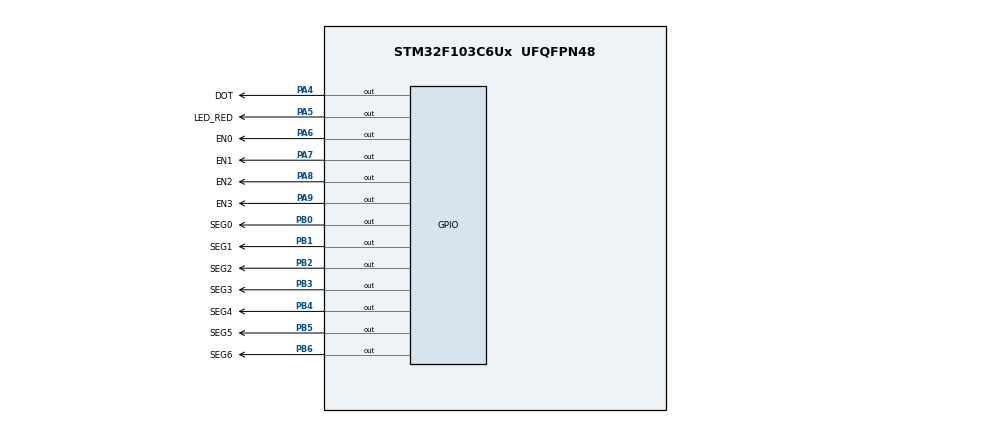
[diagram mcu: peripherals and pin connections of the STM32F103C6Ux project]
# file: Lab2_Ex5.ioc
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Mcu.Family=STM32F1
Mcu.Name=STM32F103C6Ux
Mcu.Package=UFQFPN48
NVIC.PriorityGroup=NVIC_PRIORITYGROUP_4
NVIC.TIM2_IRQn=true\:0\:0\:false\:false\:true\:false\:true
PA13.Mode=Serial_Wire
PA13.Signal=SYS_JTMS-SWDIO
PA14.Mode=Serial_Wire
PA14.Signal=SYS_JTCK-SWCLK
PA4.GPIO_Label=DOT
PA4.PinState=GPIO_PIN_SET
PA4.Signal=GPIO_Output
PA5.GPIO_Label=LED_RED
PA5.PinState=GPIO_PIN_SET
PA5.Signal=GPIO_Output
PA6.GPIO_Label=EN0
PA6.PinState=GPIO_PIN_SET
PA6.Signal=GPIO_Output
PA7.GPIO_Label=EN1
PA7.PinState=GPIO_PIN_SET
PA7.Signal=GPIO_Output
PA8.GPIO_Label=EN2
PA8.PinState=GPIO_PIN_SET
PA8.Signal=GPIO_Output
PA9.GPIO_Label=EN3
PA9.PinState=GPIO_PIN_SET
PA9.Signal=GPIO_Output
PB0.GPIO_Label=SEG0
PB0.PinState=GPIO_PIN_SET
PB0.Signal=GPIO_Output
PB1.GPIO_Label=SEG1
PB1.PinState=GPIO_PIN_SET
PB1.Signal=GPIO_Output
PB2.GPIO_Label=SEG2
PB2.PinState=GPIO_PIN_SET
PB2.Signal=GPIO_Output
PB3.GPIO_Label=SEG3
PB3.PinState=GPIO_PIN_SET
PB3.Signal=GPIO_Output
PB4.GPIO_Label=SEG4
PB4.PinState=GPIO_PIN_SET
PB4.Signal=GPIO_Output
PB5.GPIO_Label=SEG5
PB5.PinState=GPIO_PIN_SET
PB5.Signal=GPIO_Output
PB6.GPIO_Label=SEG6
PB6.PinState=GPIO_PIN_SET
PB6.Signal=GPIO_Output
ProjectManager.HeapSize=0x200
ProjectManager.StackSize=0x400
ProjectManager.TargetToolchain=STM32CubeIDE
RCC.APB1Freq_Value=8000000
RCC.APB2Freq_Value=8000000
TIM2.Period=9
TIM2.Prescaler=7999
VP_TIM2_VS_ClockSourceINT.Mode=Internal
board=custom

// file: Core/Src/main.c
/* USER CODE BEGIN Header */
/**
  ******************************************************************************
  * @file           : main.c
  * @brief          : Main program body
  *                   Lab 2 - Exercise 5 - Dong ho so gio:phut (con dung HAL_Delay)
  ******************************************************************************
  * @attention
  *
  * <h2><center>&copy; Copyright (c) 2026 STMicroelectronics.
  * All rights reserved.</center></h2>
  *
  * This software component is licensed by ST under BSD 3-Clause license,
  * the "License"; You may not use this file except in compliance with the
  * License. You may obtain a copy of the License at:
  *                        opensource.org/licenses/BSD-3-Clause
  *
  ******************************************************************************
  */
/* USER CODE END Header */
#include "main.h"

/* USER CODE BEGIN PD */
/* LED 7 doan common anode -> doan sang khi xuat muc 0 */
#define SEG_ON            GPIO_PIN_RESET
#define SEG_OFF           GPIO_PIN_SET

/* PNP: xuat muc 0 -> transistor dan -> LED 7 doan duoc cap nguon */
#define EN_ON             GPIO_PIN_RESET
#define EN_OFF            GPIO_PIN_SET

#define MAX_LED           4
#define SWITCH_TIME_MS    (1000 / MAX_LED)         /* 250 ms -> 4 LED = 1 Hz */
#define TICKS_SWITCH      (SWITCH_TIME_MS / 10)
#define DOT_TIME_MS       1000
#define TICKS_DOT         (DOT_TIME_MS / 10)
/* USER CODE END PD */

TIM_HandleTypeDef htim2;

void SystemClock_Config(void);
static void MX_GPIO_Init(void);
static void MX_TIM2_Init(void);

/* USER CODE BEGIN 0 */
int index_led = 0;
int led_buffer[MAX_LED] = {0, 0, 0, 0};   /* se do updateClockBuffer() ghi */

int timer_counter = 0;
int dot_counter   = 0;
int dot_state     = 0;

/* --- Dong ho: gio / phut / giay --- */
int hour = 15, minute = 8, second = 50;

/* Bang ma 7 doan, bit0..bit6 = doan a..g (kieu gfedcba).
   LED common anode: doan SANG khi chan tin hieu o muc 0. */
const uint8_t SEG_CODE[10] = {
  0x3F, 0x06, 0x5B, 0x4F, 0x66, 0x6D, 0x7D, 0x07, 0x7F, 0x6F
};

void display7SEG(int num)
{
  if (num < 0 || num > 9) return;                 /* chong tran bang    */
  for (int i = 0; i < 7; i++) {                   /* SEG0..SEG6 = PB0..PB6 */
    HAL_GPIO_WritePin(SEG0_GPIO_Port, (uint16_t)(SEG0_Pin << i),
                      ((SEG_CODE[num] >> i) & 1) ? SEG_ON : SEG_OFF);
  }
}

void update7SEG(int index)
{
  /* B1: TAT het 4 LED truoc. Neu bo buoc nay, du lieu cua LED cu con
         nam tren bus SEG trong luc LED moi da sang -> bong mo (ghosting). */
  HAL_GPIO_WritePin(EN0_GPIO_Port, EN0_Pin | EN1_Pin | EN2_Pin | EN3_Pin, EN_OFF);

  /* B2: dat du lieu  ->  B3: bat DUNG 1 LED */
  switch (index) {
    case 0:  display7SEG(led_buffer[0]);
             HAL_GPIO_WritePin(EN0_GPIO_Port, EN0_Pin, EN_ON);  break;
    case 1:  display7SEG(led_buffer[1]);
             HAL_GPIO_WritePin(EN1_GPIO_Port, EN1_Pin, EN_ON);  break;
    case 2:  display7SEG(led_buffer[2]);
             HAL_GPIO_WritePin(EN2_GPIO_Port, EN2_Pin, EN_ON);  break;
    case 3:  display7SEG(led_buffer[3]);
             HAL_GPIO_WritePin(EN3_GPIO_Port, EN3_Pin, EN_ON);  break;
    default: break;
  }
}

/* Doi gio:phut thanh 4 chu so cho 4 LED 7 doan.
   So 1 chu so tu dong co so 0 o truoc, vi du 8 gio -> "08". */
void updateClockBuffer(void)
{
  led_buffer[0] = hour   / 10;
  led_buffer[1] = hour   % 10;
  led_buffer[2] = minute / 10;
  led_buffer[3] = minute % 10;
}
/* USER CODE END 0 */

int main(void)
{

  /* MCU Configuration--------------------------------------------------------*/

  /* Reset of all peripherals, Initializes the Flash interface and the Systick. */
  HAL_Init();

  /* Configure the system clock */
  SystemClock_Config();

  /* Initialize all configured peripherals */
  MX_GPIO_Init();
  MX_TIM2_Init();
  /* USER CODE BEGIN 2 */
  updateClockBuffer();              /* nap 15:08 len led_buffer truoc */
  HAL_TIM_Base_Start_IT(&htim2);
  /* USER CODE END 2 */

  /* Infinite loop */
  /* USER CODE BEGIN WHILE */
  while (1)
  {
    second++;
    if (second >= 60) { second = 0; minute++; }
    if (minute >= 60) { minute = 0; hour++;   }
    if (hour   >= 24) { hour   = 0;           }
    updateClockBuffer();

    /* HAL_Delay la delay CHAN (blocking): CPU dung yen o day tron 1 giay,
       khong lam duoc viec gi khac. Exercise 6 se bo no bang software timer. */
    HAL_Delay(1000);
    /* USER CODE END WHILE */

  }
}

void SystemClock_Config(void)
{
  RCC_OscInitTypeDef RCC_OscInitStruct = {0};
  RCC_ClkInitTypeDef RCC_ClkInitStruct = {0};

  /** Initializes the RCC Oscillators according to the specified parameters
  * in the RCC_OscInitTypeDef structure.
  */
  RCC_OscInitStruct.OscillatorType = RCC_OSCILLATORTYPE_HSI;
  RCC_OscInitStruct.HSIState = RCC_HSI_ON;
  RCC_OscInitStruct.HSICalibrationValue = RCC_HSICALIBRATION_DEFAULT;
  RCC_OscInitStruct.PLL.PLLState = RCC_PLL_NONE;
  if (HAL_RCC_OscConfig(&RCC_OscInitStruct) != HAL_OK)
  {
    Error_Handler();
  }
  /** Initializes the CPU, AHB and APB buses clocks
  */
  RCC_ClkInitStruct.ClockType = RCC_CLOCKTYPE_HCLK|RCC_CLOCKTYPE_SYSCLK
                              |RCC_CLOCKTYPE_PCLK1|RCC_CLOCKTYPE_PCLK2;
  RCC_ClkInitStruct.SYSCLKSource = RCC_SYSCLKSOURCE_HSI;
  RCC_ClkInitStruct.AHBCLKDivider = RCC_SYSCLK_DIV1;
  RCC_ClkInitStruct.APB1CLKDivider = RCC_HCLK_DIV1;
  RCC_ClkInitStruct.APB2CLKDivider = RCC_HCLK_DIV1;

  if (HAL_RCC_ClockConfig(&RCC_ClkInitStruct, FLASH_LATENCY_0) != HAL_OK)
  {
    Error_Handler();
  }
}

static void MX_GPIO_Init(void)
{
  GPIO_InitTypeDef GPIO_InitStruct = {0};

  /* GPIO Ports Clock Enable */
  __HAL_RCC_GPIOA_CLK_ENABLE();
  __HAL_RCC_GPIOB_CLK_ENABLE();

  /*Configure GPIO pin Output Level */
  HAL_GPIO_WritePin(GPIOA, DOT_Pin|LED_RED_Pin|EN0_Pin
                          |EN1_Pin|EN2_Pin|EN3_Pin, GPIO_PIN_SET);

  /*Configure GPIO pin Output Level */
  HAL_GPIO_WritePin(GPIOB, SEG0_Pin|SEG1_Pin|SEG2_Pin
                          |SEG3_Pin|SEG4_Pin|SEG5_Pin
                          |SEG6_Pin, GPIO_PIN_SET);

  /*Configure GPIO pins : DOT_Pin LED_RED_Pin EN0_Pin EN1_Pin EN2_Pin EN3_Pin */
  GPIO_InitStruct.Pin = DOT_Pin|LED_RED_Pin|EN0_Pin
                          |EN1_Pin|EN2_Pin|EN3_Pin;
  GPIO_InitStruct.Mode = GPIO_MODE_OUTPUT_PP;
  GPIO_InitStruct.Pull = GPIO_NOPULL;
  GPIO_InitStruct.Speed = GPIO_SPEED_FREQ_LOW;
  HAL_GPIO_Init(GPIOA, &GPIO_InitStruct);

  /*Configure GPIO pins : SEG0_Pin SEG1_Pin SEG2_Pin SEG3_Pin SEG4_Pin SEG5_Pin SEG6_Pin */
  GPIO_InitStruct.Pin = SEG0_Pin|SEG1_Pin|SEG2_Pin
                          |SEG3_Pin|SEG4_Pin|SEG5_Pin
                          |SEG6_Pin;
  GPIO_InitStruct.Mode = GPIO_MODE_OUTPUT_PP;
  GPIO_InitStruct.Pull = GPIO_NOPULL;
  GPIO_InitStruct.Speed = GPIO_SPEED_FREQ_LOW;
  HAL_GPIO_Init(GPIOB, &GPIO_InitStruct);

}
static void MX_TIM2_Init(void)
{

  TIM_ClockConfigTypeDef sClockSourceConfig = {0};
  TIM_MasterConfigTypeDef sMasterConfig = {0};

  htim2.Instance = TIM2;
  htim2.Init.Prescaler = 7999;
  htim2.Init.CounterMode = TIM_COUNTERMODE_UP;
  htim2.Init.Period = 9;
  htim2.Init.ClockDivision = TIM_CLOCKDIVISION_DIV1;
  htim2.Init.AutoReloadPreload = TIM_AUTORELOAD_PRELOAD_DISABLE;
  if (HAL_TIM_Base_Init(&htim2) != HAL_OK)
  {
    Error_Handler();
  }
  sClockSourceConfig.ClockSource = TIM_CLOCKSOURCE_INTERNAL;
  if (HAL_TIM_ConfigClockSource(&htim2, &sClockSourceConfig) != HAL_OK)
  {
    Error_Handler();
  }
  sMasterConfig.MasterOutputTrigger = TIM_TRGO_RESET;
  sMasterConfig.MasterSlaveMode = TIM_MASTERSLAVEMODE_DISABLE;
  if (HAL_TIMEx_MasterConfigSynchronization(&htim2, &sMasterConfig) != HAL_OK)
  {
    Error_Handler();
  }

}

/* USER CODE BEGIN 4 */
void HAL_TIM_PeriodElapsedCallback(TIM_HandleTypeDef *htim)
{
  if (htim->Instance == TIM2) {

    /* Quet 4 LED 7 doan - 250 ms / LED  ->  tan so quet 1 Hz */
    timer_counter++;
    if (timer_counter >= TICKS_SWITCH) {
      timer_counter = 0;
      update7SEG(index_led++);
      if (index_led >= MAX_LED) index_led = 0;
    }

    /* DOT nhap nhay moi 1 giay */
    dot_counter++;
    if (dot_counter >= TICKS_DOT) {
      dot_counter = 0;
      dot_state   = !dot_state;
      HAL_GPIO_WritePin(DOT_GPIO_Port, DOT_Pin,
                        dot_state ? GPIO_PIN_SET : GPIO_PIN_RESET);
    }
  }
}
/* USER CODE END 4 */

void Error_Handler(void)
{
  __disable_irq();
  while (1)
  {
  }
}

/************************ (C) COPYRIGHT STMicroelectronics *****END OF FILE****/
